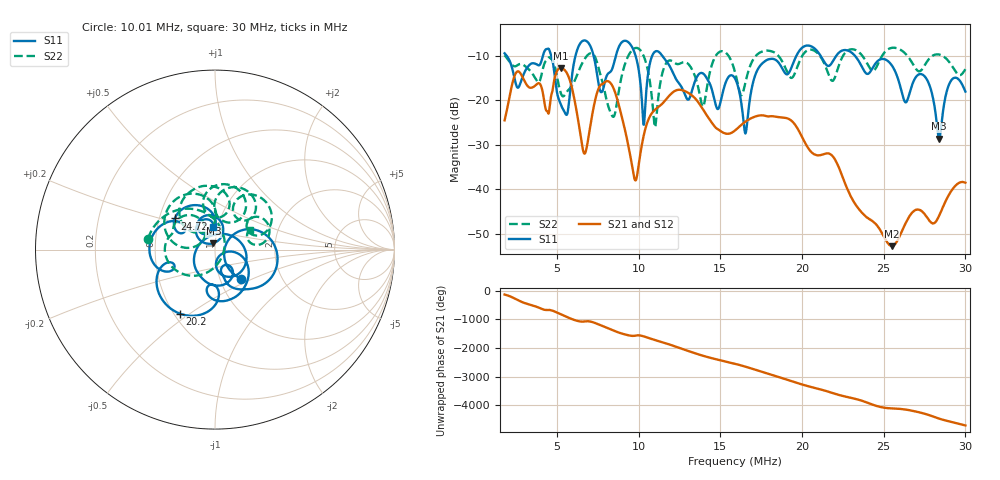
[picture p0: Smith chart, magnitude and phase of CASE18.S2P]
!Agilent Technologies,E5061B,MY49101568,A.02.00
!Date: Wed Mar 01 14:36:13 2023
!Data & Calibration Information:
!Freq	S11:SOLT2(OFF)	S21:SOLT2(OFF)	S12:SOLT2(OFF)	S22:SOLT2(OFF)
# Hz S dB R 50
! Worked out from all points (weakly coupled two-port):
!   1155 points, 1.8 MHz to 30 MHz, reference 50 ohm
!   highest |S21| = -12.82 dB at 5.221 MHz (marker M1); lowest = -52.8 dB at 25.48 MHz (marker M2)
!   lowest |S11| = -28.7 dB at 28.39 MHz (marker M3), VSWR 1.08, Z = 49 + j3.53 ohm
!   |S11| at or under -10 dB: 1.921 MHz to 4.146 MHz (2.224 MHz wide, 73.3 % of centre); 11.44 MHz to 19.66 MHz (8.218 MHz wide, 52.8 % of centre); 23.23 MHz to end of sweep (the widest 3 of 7)
!   |S22| runs from -26.1 to -8.2 dB; largest |S21 - S12| = 0.0024
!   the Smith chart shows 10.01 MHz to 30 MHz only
!   S11 on the Smith chart (normalised r, x): 10.01 MHz: 1.25, -0.42; 20.2 MHz: 0.54, -0.46; 24.72 MHz: 0.60, +0.23; 30 MHz: 0.95, +0.24
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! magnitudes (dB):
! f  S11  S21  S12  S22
! 1.8 MHz  -9.5  -24.5  -24.5  -9.9
! 2.606 MHz  -17.2  -13.5  -13.5  -12.1
! 4.464 MHz  -8.4  -22.9  -22.9  -10.6
! 5.221 MHz  -20.8  -12.8  -12.8  -18.2
! 6.516 MHz  -6.9  -29.6  -29.4  -11.9
! 8.154 MHz  -14.0  -15.8  -15.7  -21.5
! 10.01 MHz  -13.3  -34.4  -34.2  -8.4
! 10.33 MHz  -25.5  -27.7  -27.6  -10.2
! 11.21 MHz  -9.1  -21.6  -21.6  -19.3
! 12.99 MHz  -19.9  -18.3  -18.3  -11.7
! 13.92 MHz  -14.0  -22.0  -22.0  -21.4
! 15.9 MHz  -15.1  -26.8  -26.9  -13.7
! 16.54 MHz  -27.5  -24.8  -24.9  -16.1
! 17.42 MHz  -12.4  -23.4  -23.5  -9.3
! 20.2 MHz  -7.8  -29.7  -29.7  -9.2
! 20.62 MHz  -8.0  -31.8  -31.8  -8.7
! 24.72 MHz  -11.0  -48.8  -48.8  -11.3
! 25.31 MHz  -11.4  -52.3  -52.3  -8.5
! 25.48 MHz  -12.1  -52.8  -52.7  -8.3
! 27.58 MHz  -15.0  -46.0  -45.9  -11.7
! 28.39 MHz  -28.7  -46.0  -46.0  -9.7
! 30 MHz  -18.1  -38.6  -38.5  -13.0
